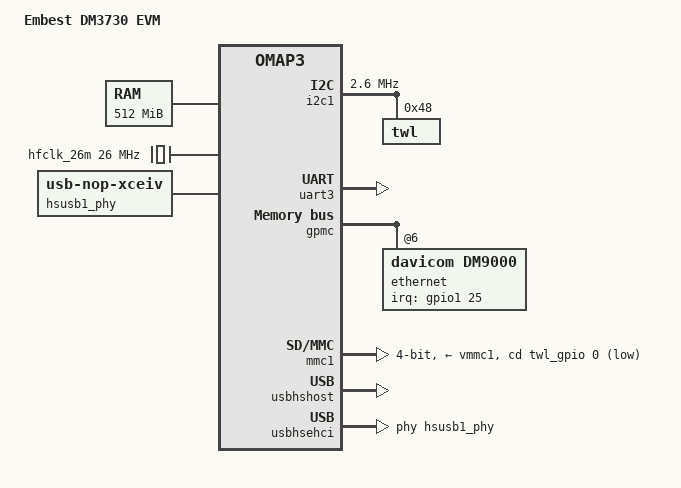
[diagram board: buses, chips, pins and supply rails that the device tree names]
// SPDX-License-Identifier: GPL-2.0-only
/dts-v1/;

#include "omap36xx.dtsi"

/ {
	model = "Embest DM3730 EVM";
	compatible = "embest,dm3730-evm", "ti,omap3630", "ti,omap3";

	chosen {
		stdout-path = &uart3;
	};

	memory@80000000 {
		device_type = "memory";
		reg = <0x80000000 0x20000000>; /* 512MB */
	};

	hfclk_26m: oscillator {
		#clock-cells = <0>;
		compatible = "fixed-clock";
		clock-frequency = <26000000>;
	};

	hsusb1_phy: hsusb1-phy {
		compatible = "usb-nop-xceiv";
		#phy-cells = <0>;
	};
};

&i2c1 {
	pinctrl-names = "default";
	pinctrl-0 = <&i2c1_pins>;
	clock-frequency = <2600000>;

	twl: twl@48 {
		reg = <0x48>;
		interrupt-parent = <&intc>;
		interrupts = <7>;
		clocks = <&hfclk_26m>;
		clock-names = "fck";
	};
};

#include "twl4030.dtsi"
#include "twl4030_omap3.dtsi"

&omap3_pmx_core {

	i2c1_pins: i2c1-pins {
		pinctrl-single,pins = <
			OMAP3_CORE1_IOPAD(0x21ba, PIN_INPUT | MUX_MODE0)
			OMAP3_CORE1_IOPAD(0x21bc, PIN_INPUT | MUX_MODE0)
		>;
	};

	uart3_pins: uart3-pins {
		pinctrl-single,pins = <
			OMAP3_CORE1_IOPAD(0x219e, PIN_OUTPUT | MUX_MODE0)
			OMAP3_CORE1_IOPAD(0x21a0, PIN_INPUT  | MUX_MODE0)
		>;
	};

	dm9000_pins: dm9000-pins {
		pinctrl-single,pins = <
			OMAP3_CORE1_IOPAD(0x20ba, PIN_OUTPUT | MUX_MODE0)
			OMAP3_CORE1_IOPAD(0x2184, PIN_INPUT_PULLUP | MUX_MODE4)
		>;
	};

	mmc1_pins: mmc1-pins {
		pinctrl-single,pins = <
			OMAP3_CORE1_IOPAD(0x2144, PIN_INPUT_PULLUP | MUX_MODE0)
			OMAP3_CORE1_IOPAD(0x2146, PIN_INPUT_PULLUP | MUX_MODE0)
			OMAP3_CORE1_IOPAD(0x2148, PIN_INPUT_PULLUP | MUX_MODE0)
			OMAP3_CORE1_IOPAD(0x214a, PIN_INPUT_PULLUP | MUX_MODE0)
			OMAP3_CORE1_IOPAD(0x214c, PIN_INPUT_PULLUP | MUX_MODE0)
			OMAP3_CORE1_IOPAD(0x214e, PIN_INPUT_PULLUP | MUX_MODE0)
		>;
	};
};

&omap3_pmx_core2 {

	hsusb1_pins: hsusb1-pins {
		pinctrl-single,pins = <
			OMAP3430_CORE2_IOPAD(0x25d8, PIN_OUTPUT | MUX_MODE3)
			OMAP3430_CORE2_IOPAD(0x25da, PIN_OUTPUT | MUX_MODE3)

			OMAP3430_CORE2_IOPAD(0x25dc, PIN_INPUT  | MUX_MODE3)
			OMAP3430_CORE2_IOPAD(0x25de, PIN_INPUT  | MUX_MODE3)
			OMAP3430_CORE2_IOPAD(0x25e0, PIN_INPUT  | MUX_MODE3)
			OMAP3430_CORE2_IOPAD(0x25e2, PIN_INPUT  | MUX_MODE3)
			OMAP3430_CORE2_IOPAD(0x25e4, PIN_INPUT  | MUX_MODE3)
			OMAP3430_CORE2_IOPAD(0x25e6, PIN_INPUT  | MUX_MODE3)
			OMAP3430_CORE2_IOPAD(0x25e8, PIN_INPUT  | MUX_MODE3)
			OMAP3430_CORE2_IOPAD(0x25ea, PIN_INPUT  | MUX_MODE3)

			OMAP3430_CORE2_IOPAD(0x25ec, PIN_INPUT  | MUX_MODE3)
			OMAP3430_CORE2_IOPAD(0x25ee, PIN_INPUT  | MUX_MODE3)
		>;
	};
};


&uart3 {
	status = "okay";
	pinctrl-names = "default";
	pinctrl-0 = <&uart3_pins>;
	interrupts-extended = <&intc 74 &omap3_pmx_core OMAP3_UART3_RX>;
};


&gpmc {
	ranges = <6 0 0x2c000000 0x1000000>;

	ethernet@6,0 {
		compatible = "davicom,dm9000";
		reg = <6 0x000 2>, <6 0x400 2>;
		bank-width = <2>;

		interrupt-parent = <&gpio1>;
		interrupts = <25 IRQ_TYPE_LEVEL_LOW>;

		davicom,no-eeprom;

		gpmc,mux-add-data = <0>;
		gpmc,device-width = <1>;
		gpmc,wait-pin = <0>;

		gpmc,cycle2cycle-samecsen;
		gpmc,cycle2cycle-diffcsen;

		gpmc,cs-on-ns = <6>;
		gpmc,cs-rd-off-ns = <180>;
		gpmc,cs-wr-off-ns = <180>;
		gpmc,adv-on-ns = <0>;
		gpmc,adv-rd-off-ns = <18>;
		gpmc,adv-wr-off-ns = <48>;
		gpmc,oe-on-ns = <54>;
		gpmc,oe-off-ns = <168>;
		gpmc,we-on-ns = <54>;
		gpmc,we-off-ns = <168>;
		gpmc,rd-cycle-ns = <186>;
		gpmc,wr-cycle-ns = <186>;
		gpmc,access-ns = <144>;
		gpmc,page-burst-access-ns = <24>;
		gpmc,bus-turnaround-ns = <90>;
		gpmc,cycle2cycle-delay-ns = <90>;
		gpmc,wait-monitoring-ns = <0>;
		gpmc,clk-activation-ns = <0>;
		gpmc,wr-data-mux-bus-ns = <0>;
		gpmc,wr-access-ns = <0>;
	};
};

&mmc1 {
	status = "okay";
	pinctrl-names = "default";
	pinctrl-0 = <&mmc1_pins>;
	vmmc-supply = <&vmmc1>;
	bus-width = <4>;
	cd-gpios = <&twl_gpio 0 GPIO_ACTIVE_LOW>;
	cd-debounce-delay-ms = <500>;
	broken-cd;
};

&usbhshost {
	status = "okay";
	port1-mode = "ehci-phy";
};

&usbhsehci {
	status = "okay";
	pinctrl-names = "default";
	pinctrl-0 = <&hsusb1_pins>;
	phys = <&hsusb1_phy>;
	phy-names = "usb";
};
